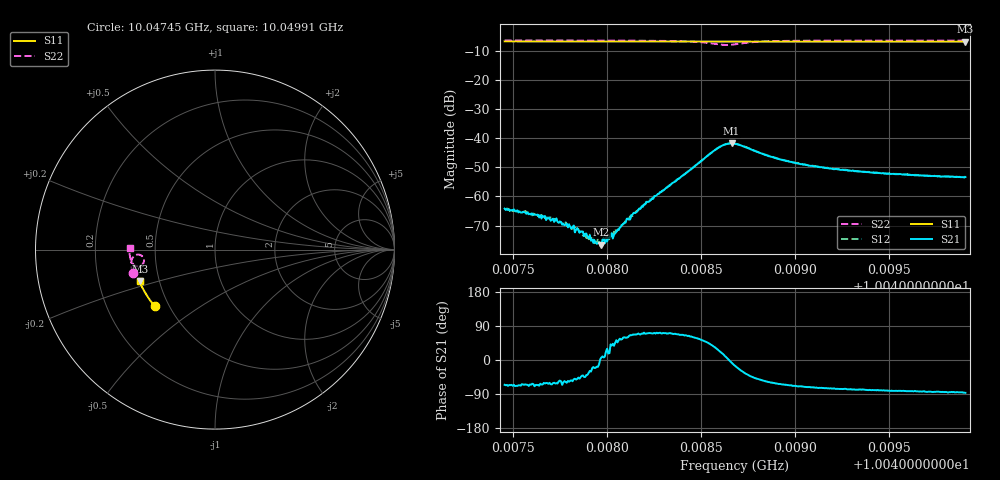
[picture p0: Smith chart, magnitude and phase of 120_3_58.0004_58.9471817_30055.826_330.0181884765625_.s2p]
#  HZ  S  RI  R  50.00
! Rohde & Schwarz Vector Network Analyzer
! Rohde-Schwarz,ZNB20-2Port,1311601062101988,3.16
! Created: UTC 3/21/2024, 12:55:41 AM
! freq[Hz]  re:S11  im:S11  re:S21  im:S21  re:S12  im:S12  re:S22  im:S22
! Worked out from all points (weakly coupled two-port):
!   401 points, 10.04745 GHz to 10.04991 GHz, reference 50 ohm
!   highest |S21| = -41.78 dB at 10.04866 GHz (marker M1); lowest = -76.6 dB at 10.04797 GHz (marker M2)
!   lowest |S11| = -6.8 dB at 10.04991 GHz (marker M3), VSWR 2.67, Z = 19.4 - j8.66 ohm
!   |S11| at or under -10 dB: nowhere
!   |S22| runs from -8.0 to -6.4 dB; largest |S21 - S12| = 0.00057
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1.0047453e10  -0.3355 -0.3149  0.000257 -0.000562  0.000261 -0.000556  -0.4594 -0.133
1.0047576e10  -0.3409 -0.3087  0.000222 -0.000485  0.000244 -0.000477  -0.4613 -0.1244
1.0047729e10  -0.3475 -0.3009  0.000201 -0.000368  0.000228 -0.000336  -0.4637 -0.1132
1.0047834e10  -0.3517 -0.2953  0.000167 -0.00021  0.00017 -0.000203  -0.465 -0.1052
1.0047864e10  -0.3529 -0.2938  0.000185 -0.000166  0.000188 -0.000137  -0.4652 -0.1029
1.0047938e10  -0.3559 -0.2899  0.00015 -5.64e-05  0.000172 -3.32e-05  -0.466 -0.0971
1.0047956e10  -0.3569 -0.289  0.000157 -3.21e-05  0.000172 -1.31e-05  -0.4662 -0.0953
1.0047969e10  -0.3571 -0.2882  0.000147 1.71e-05  0.000162 2.08e-05  -0.4662 -0.0943
1.0047999e10  -0.3584 -0.2867  0.000146 8.35e-05  0.000182 0.000101  -0.4666 -0.0919
1.0048018e10  -0.3591 -0.2858  0.000156 0.000136  0.000189 0.000147  -0.4667 -0.0903
1.004803e10  -0.3597 -0.285  0.000139 0.000129  0.000145 0.000145  -0.4667 -0.0892
1.0048042e10  -0.3602 -0.2844  0.000162 0.000166  0.000204 0.000189  -0.4668 -0.0881
1.0048141e10  -0.3641 -0.2791  0.000205 0.00048  0.000187 0.000454  -0.4672 -0.0791
1.0048276e10  -0.3692 -0.2718  0.000356 0.00105  0.000285 0.00109  -0.4659 -0.0648
1.0048576e10  -0.3796 -0.2549  0.00534 0.00341  0.00517 0.00374  -0.4164 -0.0301
1.0048619e10  -0.3809 -0.2527  0.00739 0.00192  0.00731 0.00234  -0.3991 -0.0454
1.0048662e10  -0.3823 -0.2505  0.00809 -0.000975  0.00817 -0.00045  -0.3971 -0.0707
1.0048681e10  -0.383 -0.2496  0.00772 -0.00213  0.00789 -0.00162  -0.4022 -0.0803
1.0048914e10  -0.3914 -0.2367  0.00197 -0.00392  0.00225 -0.00382  -0.4617 -0.0743
1.0049092e10  -0.3971 -0.2263  0.00104 -0.00319  0.00119 -0.00316  -0.4707 -0.054
1.0049503e10  -0.4092 -0.2018  0.000385 -0.00244  0.000538 -0.00241  -0.4758 -0.0187
1.0049908e10  -0.4198 -0.1774  0.000133 -0.00215  0.000273 -0.00209  -0.4763 0.011
